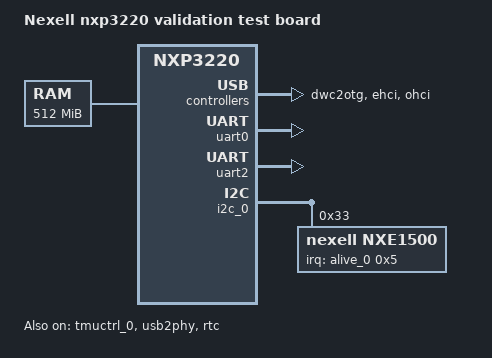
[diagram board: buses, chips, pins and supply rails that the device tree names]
// SPDX-License-Identifier: (GPL-2.0+ OR MIT)
/*
 * Copyright (C) 2018  Nexell Co., Ltd.
 * Author: JungHyun, Kim <jhkim@nexell.co.kr>
 */

/dts-v1/;
#include <dt-bindings/gpio/gpio.h>
#include "nxp3220.dtsi"

#define PMIC_PDATA_INIT(_id, _rname, _minuv,		\
                        _maxuv, _init_uv, _init_enable,	\
                        _set_init_uV, _slp_slots)	\
                regulator-name = _rname;                \
                regulator-min-microvolt = <_minuv>;     \
                regulator-max-microvolt = <_maxuv>;     \
                nx,id = <_id>;                          \
                nx,init_enable = <_init_enable>;        \
                nx,init_uV = <_init_uv>;                \
                nx,set_init_uV = <_set_init_uV>;        \
                nx,sleep_slots = <_slp_slots>;

/ {
	model = "Nexell nxp3220 validation test board";
	compatible = "nexell,nxp3220-vtk", "nexell,nxp3220";

	chosen {
		stdout-path = &uart2;
	};

	memory@40000000 {
		device_type = "memory";
		reg = <0x40000000 0x20000000>;
	};

	thermal-zones {
		cpu_thermal: cpu-thermal {
			thermal-sensors = <&tmuctrl_0>;
			polling-delay-passive = <1000>;
			polling-delay = <1000>;
			trips {
				cpu-crit-0 {
					temperature = <85000>;
					hysteresis = <10000>;
					type = "critical";
				};
			};
		};
	};
};

&dwc2otg {
	status = "okay";
	pinctrl-0 = <&otg_vbus_en>;
	pinctrl-names = "default";
};

&ehci {
	status = "okay";
};

&ohci {
	status = "okay";
};

&tmuctrl_0 {
	status = "okay";
};

&uart0 {
	status = "okay";
};

&uart2 {
	status = "okay";
};

&usb2phy {
	status = "okay";
};

&rtc {
	status = "okay";
};

&pinctrl_0 {
	pmic_irq: sm5011-irq {
		nexell,pins = "alive-1";
		nexell,pin-function = <NX_PIN_FUNC0>;
		nexell,pin-pull = <NX_PIN_PULL_NONE>;
		nexell,pin-strength = <NX_PIN_STR0>;
	};

	cfg_wlanhostwake: cfg-wlanhostwake {
		nexell,pins = "alive-3";
		nexell,pin-function = <NX_PIN_FUNC0>;
		nexell,pin-pull = <NX_PIN_PULL_UP>;
		nexell,pin-strength = <NX_PIN_STR0>;
	};
};

&i2c_0 {
	status = "okay";
	#address-cells = <1>;
	#size-cells = <0>;

	nxe1500: nxe1500@33 {
		compatible = "nexell,nxe1500";
		interrupt-parent = <&alive_0>;
		interrupts = <0x5 IRQ_TYPE_EDGE_FALLING>;
		pinctrl-names = "default";
		pinctrl-0 = <&pmic_irq>;
		reg = <0x33>;

		regulators {
			VCC_DCDC0: dcdc1 {
					PMIC_PDATA_INIT( 0,
					"nxe1500_dcdc1",
					600000, 1400000,
					1100000, 1, 0, 0x4)
					regulator-always-on;
					regulator-boot-on;
				};

			VCC_DCDC1: dcdc2 {
					PMIC_PDATA_INIT( 1,
					"nxe1500_dcdc2",
					975000, 1000000,
					1000000, 1, 0, 0x4)
					regulator-always-on;
					regulator-boot-on;
				};

			VCC_DCDC2: dcdc3 {
					PMIC_PDATA_INIT( 2,
					"nxe1500_dcdc3",
					1500000, 1500000,
					1500000, 1, 0, 0xF)
					regulator-always-on;
					regulator-boot-on;
				};

			VCC_DCDC3: dcdc4 {
					PMIC_PDATA_INIT( 3,
					"nxe1500_dcdc4",
					1500000, 1500000,
					1500000, 1, 0, 0xF)
					regulator-always-on;
					regulator-boot-on;
				};

			VCC_LDO0: ldo1 {
					PMIC_PDATA_INIT( 5,
					"nxe1500_ldo1",
					3300000, 3300000,
					3300000, 1, 0, 0x2)
					regulator-boot-on;
				};

			VCC_LDO1: ldo2 {
					PMIC_PDATA_INIT( 6,
					"nxe1500_ldo2",
					1800000, 1800000,
					1800000, 1, 0, 0x3)
					regulator-boot-on;
				};

			VCC_LDO2: ldo3 { PMIC_PDATA_INIT( 7,
					"nxe1500_ldo3",
					3300000, 3300000,
					3300000, 1, 0, 0x2)
					regulator-always-on;
					regulator-boot-on;
				};

			VCC_LDO3: ldo4 {
					PMIC_PDATA_INIT( 8,
					"nxe1500_ldo4",
					1500000, 1500000,
					1500000, 1, 0, 0x3)
					regulator-always-on;
					regulator-boot-on;
				};

			VCC_LDO4: ldo5 {
					PMIC_PDATA_INIT( 9,
					"nxe1500_ldo5",
					1000000, 1000000,
					1000000, 1, 0, 0x4)
					regulator-boot-on;
				};

			VCC_RTC0: ldortc1 {
					PMIC_PDATA_INIT(15,
					"nxe1500_rtc1",
					1700000, 3500000,
					1800000, 1, 1, 0xF)
					regulator-always-on;
					regulator-boot-on;
				};

			VCC_RTC1: ldortc2 {
					PMIC_PDATA_INIT(16,
					"nxe1500_rtc2",
					1000000, 3500000,
					1000000, 1, 1, 0xF)
					regulator-always-on;
					regulator-boot-on;
				};

		}; /* regulators */
	}; /* nxe1500@33 */
}; /* &i2c_0 */


&cpu0 {
	//cpu-supply = <&buck2_reg>;
};

&cpu0_opp_table {
	compatible = "operating-points-v2";
	opp-shared;

	opp-0 {
		opp-hz = /bits/ 64 <100000000>;
		opp-microvolt = <1000000>;
	};
	opp-1 {
		opp-hz = /bits/ 64 <200000000>;
		opp-microvolt = <1000000>;
	};
	opp-2 {
		opp-hz = /bits/ 64 <300000000>;
		opp-microvolt = <1000000>;
	};
	opp-3 {
		opp-hz = /bits/ 64 <400000000>;
		opp-microvolt = <1000000>;
	};
	opp-4 {
		opp-hz = /bits/ 64 <500000000>;
		opp-microvolt = <1000000>;
	};
	opp-5 {
		opp-hz = /bits/ 64 <600000000>;
		opp-microvolt = <1000000>;
	};
	opp-6 {
		opp-hz = /bits/ 64 <700000000>;
		opp-microvolt = <1000000>;
	};
	opp-7 {
		opp-hz = /bits/ 64 <800000000>;
		opp-microvolt = <1000000>;
	};
	opp-8 {
		opp-hz = /bits/ 64 <900000000>;
		opp-microvolt = <1100000>;
	};
	opp-9 {
		opp-hz = /bits/ 64 <1000000000>;
		opp-microvolt = <1100000>;
	};
	opp-10 {
		opp-hz = /bits/ 64 <1100000000>;
		opp-microvolt = <1200000>;
	};
	opp-11 {
		opp-hz = /bits/ 64 <1200000000>;
		opp-microvolt = <1300000>;
	};
	opp-12 {
		opp-hz = /bits/ 64 <1300000000>;
		opp-microvolt = <1300000>;
	};
	opp-13 {
		opp-hz = /bits/ 64 <1400000000>;
		opp-microvolt = <1300000>;
	};

};
